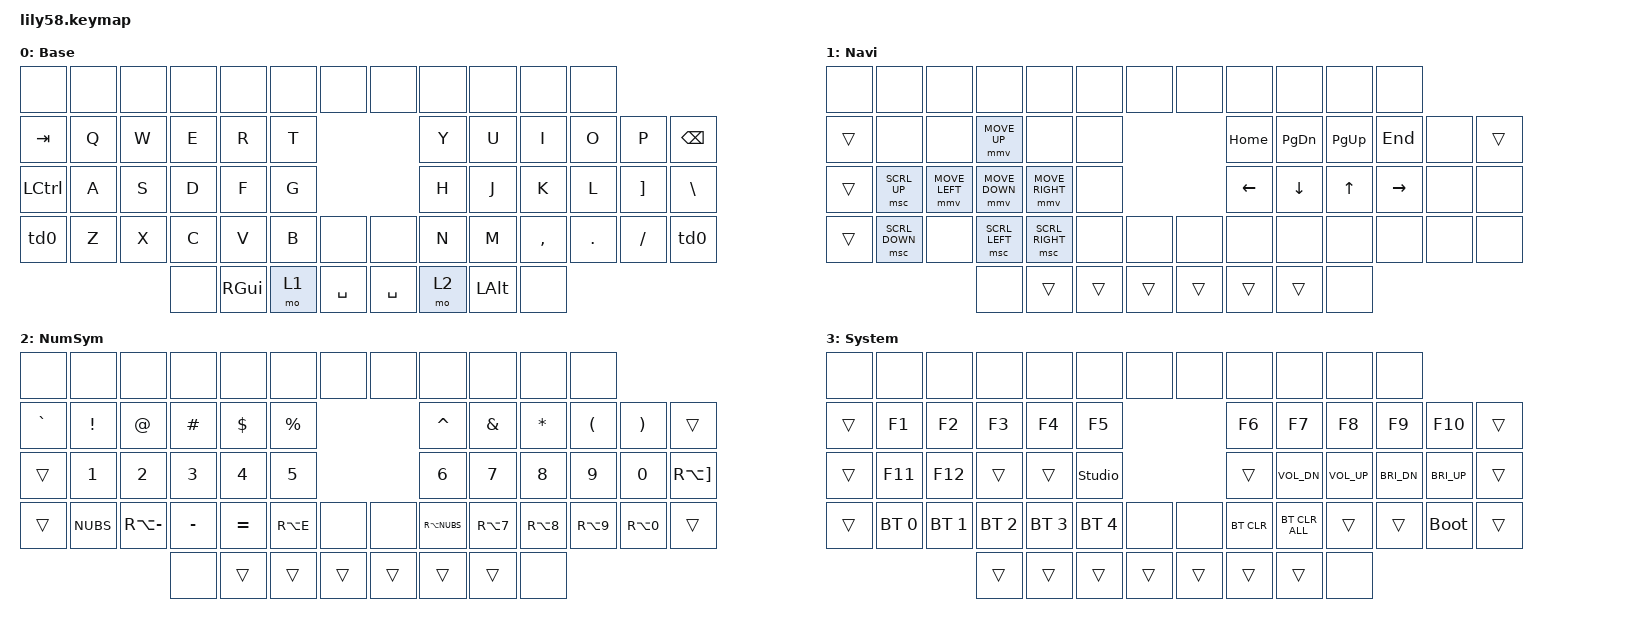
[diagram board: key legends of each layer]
#include <behaviors.dtsi>
#include <dt-bindings/zmk/bt.h>
#include <dt-bindings/zmk/keys.h>
#define ZMK_POINTING_DEFAULT_MOVE_VAL 800  // default: 600
#define ZMK_POINTING_DEFAULT_SCRL_VAL 15    // default: 10
#include <dt-bindings/zmk/pointing.h>

#define DEF 0
#define NAV 1
#define SYM 2
#define ADJ 3
#define SYM2 4


#define COMBO(NAME, BINDINGS, KEYPOS) \
    combo_##NAME { \
        timeout-ms = <50>; \
        bindings = <BINDINGS>; \
        key-positions = <KEYPOS>; \
        layers = <0>; \
        };


//Row 0:      0   1   2   3   4   5               6   7   8   9   10  11
//Row 1:     12  13  14  15  16  17               18  19  20  21  22  23
//Row 2:     24  25  26  27  28  29               30  31  32  33  34  35
//Row 3:     36  37  38  39  40  41  42      43   44  45  46  47  48  49
//Thumb:                 50  51  52  53      54   55  56  57   

/ {

        combos {
    compatible = "zmk,combos";
        COMBO(ue, &kp LBKT, 19 15)
        COMBO(ae, &kp SQT, 25 15)
        COMBO(oe, &kp SEMI, 21 15)
        COMBO(meta,&kp RGUI, 24 25)
        COMBO(esc,&kp ESC, 12 13)
        COMBO(delte,&kp DEL, 22 23)
        COMBO(at,&kp RA(Q), 13 24)
        COMBO(scratch,&kp F12, 19 20 21)
        combo_ret {
            timeout-ms = <50>;
            bindings = <&kp RET>;
            key-positions = <32 33>;
            layers = <0 1 2 4>;
        };
        combo_leftclick_r {
            timeout-ms = <50>;
            bindings = <&mkp LCLK>;
            key-positions = <31 32>;
            layers = <1>;
        };
        combo_rightclick_r {
            timeout-ms = <50>;
            bindings = <&mkp RCLK>;
            key-positions = <33 34>;
            layers = <1>;
        };
        // combo_leftclick_l {
        //     timeout-ms = <50>;
        //     bindings = <&mkp LCLK>;
        //     key-positions = <14 15>;
        //     layers = <0 1>;
        // };
        // combo_rightclick_l {
        //     timeout-ms = <50>;
        //     bindings = <&mkp RCLK>;
        //     key-positions = <15 16>;
        //     layers = <0 1>;
        // };
    }; //The first parameter is just an internal name, the second one the keypress we want to execute during the combo, and the last one is for the key positions.


    behaviors {

        td0: tap_dance_0 {
            compatible = "zmk,behavior-tap-dance";
            #binding-cells = <0>;
            tapping-term-ms = <200>;
            bindings = <&kp LSHFT>, <&caps_word>;
        };

        ht: hold_tap {
            compatible = "zmk,behavior-hold-tap";
            flavor = "balanced";
            tapping-term-ms = <300>;
            label = "HOLD_TAP";
            #binding-cells = <2>;
            bindings = <&kp>, <&kp>;
        };
        hm: homerow_mods {
            compatible = "zmk,behavior-hold-tap";
            label = "HOMEROW_MODS";
            #binding-cells = <2>;
            tapping-term-ms = <200>;
            quick_tap_ms = <0>;
            flavor = "tap-preferred";
            bindings = <&kp>, <&kp>;
            quick-tap-ms = <180>;
            global-quick-tap;
        };
    };

keymap {
    compatible = "zmk,keymap";

DEF {
    display-name = "Base";
    bindings = <
&none &none &none &none &none &none &none &none &none &none &none &none
&kp TAB     &kp Q    &kp W    &kp E     &kp R     &kp T                              &kp Y   &kp U     &kp I      &kp O    &kp P     &kp BACKSPACE
&kp LCTL    &kp A    &kp S    &kp D     &kp F     &kp G                              &kp H   &kp J     &kp K      &kp L    &kp RBKT  &kp BSLH
&td0        &kp Z    &kp X    &kp C     &kp V     &kp B    &none           &none     &kp N   &kp M     &kp COMMA  &kp DOT  &kp FSLH  &td0
                              &none     &kp RGUI  &mo 1    &kp SPACE       &kp SPACE &mo 2   &kp LALT  &none
            >;
        };

        NAV {
            display-name = "Navi";
            bindings = <
&none &none &none &none &none &none &none &none &none &none &none &none
&trans     &none           &none           &mmv MOVE_UP    &none           &none                             &kp HOME &kp PG_DN &kp PG_UP &kp END   &none  &trans
&trans     &msc SCRL_UP    &mmv MOVE_LEFT  &mmv MOVE_DOWN  &mmv MOVE_RIGHT &none                             &kp LEFT &kp DOWN  &kp UP    &kp RIGHT &none  &none
&trans     &msc SCRL_DOWN  &none           &msc SCRL_LEFT  &msc SCRL_RIGHT &none     &none         &none     &none    &none     &none     &none     &none  &none
                                           &none           &trans          &trans    &trans        &trans    &trans   &trans    &none 
            >;
        };

        SYM {
            display-name = "NumSym";
            bindings = <
&none &none &none &none &none &none &none &none &none &none &none &none
&kp GRAVE &kp EXCLAMATION  &kp AT_SIGN   &kp HASH  &kp DOLLAR  &kp PERCENT                        &kp CARET     &kp AMPERSAND  &kp ASTERISK &kp LEFT_PARENTHESIS &kp RIGHT_PARENTHESIS &trans
&trans    &kp N1           &kp N2        &kp N3    &kp N4      &kp N5                             &kp N6        &kp N7         &kp N8       &kp N9               &kp N0                &kp RA(RIGHT_BRACKET)
&trans    &kp NUBS         &kp RA(MINUS) &kp MINUS &kp EQUAL   &kp RA(E)    &none         &none   &kp RA(NUBS)  &kp RA(N7)     &kp RA(N8)   &kp RA(N9)           &kp RA(N0)            &trans
                                         &none     &trans      &trans       &trans        &trans  &trans        &trans         &none 
            >;
        };
        
//        SYM2 {
//            display-name = "NumSym2";
//            bindings = <
//&none &none &none &none &none &none &none &none &none &none &none &none
//&trans                &kp LS(MINUS)    &kp AT_SIGN   &kp HASH  &kp DOLLAR  &kp PERCENT                        &kp RA(NUBS)  &kp RA(N7)     &kp RA(N8)   &kp RA(N9)           &kp RA(N0)  &trans
//&kp RA(RIGHT_BRACKET) &kp N1           &kp RA(MINUS) &kp N3    &kp N4      &kp N5                             &kp N6        &kp N7         &kp N8       &kp N9               &kp N0      &kp LS(EQUAL)
//&mo 4                 &kp LS(NUBS)     &kp RA(MINUS) &kp MINUS &kp EQUAL   &kp RA(E)    &none         &none   &kp RA(NUBS)  &kp RA(N7)     &kp RA(N8)   &kp RA(N9)           &kp RA(N0)  &trans
//                                                     &trans    &trans      &trans       &trans        &trans  &trans        &trans         &none 
//            >;
//        };

ADJ {
    display-name = "System";
    bindings = <
&none &none &none &none &none &none &none &none &none &none &none &none
&trans  &kp F1        &kp F2        &kp F3        &kp F4        &kp F5                                &kp F6      &kp F7         &kp F8       &kp F9        &kp F10       &trans
&trans  &kp F11       &kp F12       &trans        &trans        &studio_unlock                        &trans      &kp C_VOL_DN   &kp C_VOL_UP &kp C_BRI_DN  &kp C_BRI_UP  &trans
&trans  &bt BT_SEL 0  &bt BT_SEL 1  &bt BT_SEL 2  &bt BT_SEL 3  &bt BT_SEL 4   &none         &none    &bt BT_CLR  &bt BT_CLR_ALL &trans       &trans        &bootloader   &trans
                                    &trans        &trans        &trans         &trans        &trans   &trans      &trans         &none 
            >;
        };
    };

    conditional_layers {
        compatible = "zmk,conditional-layers";

        l3 {
            if-layers = <1 2>;
            then-layer = <3>;
        };

//        l4 {
//            if-layers = <2 4>;
//            then-layer = <4>;
//        };
    };
};
